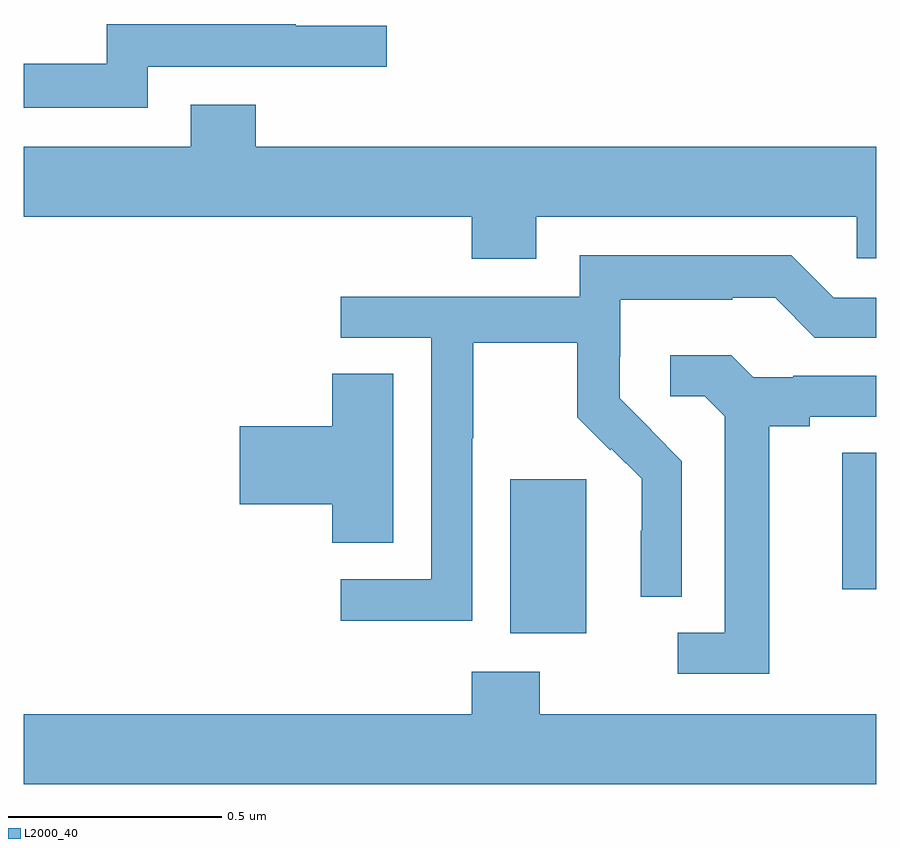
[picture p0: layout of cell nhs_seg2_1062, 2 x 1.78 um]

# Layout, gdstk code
import gdstk
lib = gdstk.Library(unit=1e-6, precision=1e-09)
def R(c, l, rs):  # rectangles x0, y0, x1, y1
    for r in rs: c.add(gdstk.rectangle(r[:2], r[2:], *l))
def P(c, l, *ps):  # polygons
    for p in ps: c.add(gdstk.Polygon(p, *l))
L2000_40 = (2000, 40)

nhs_seg2_1062 = lib.new_cell('nhs_seg2_1062')
R(nhs_seg2_1062, L2000_40, [(125.141,601.37,125.32,601.731), (125.921,601.473,126,601.793)])
P(nhs_seg2_1062, L2000_40, [(124.29,602.7),(124.852,602.7),(124.852,602.796),(124.638,602.796),(124.638,602.8),(124.194,602.8),(124.194,602.707),(124,602.707),(124,602.603),(124.29,602.603)],
  [(125.203,602.348),(125.955,602.348),(125.955,602.25),(126,602.25),(126,602.512),(124.544,602.512),(124.544,602.611),(124.391,602.611),(124.391,602.512),(124,602.512),(124,602.348),(125.051,602.348),(125.051,602.249),(125.203,602.249)],
  [(125.052,601.828),(125.055,601.828),(125.055,602.052),(125.299,602.052),(125.299,601.877),(125.376,601.8),(125.379,601.803),(125.45,601.733),(125.45,601.61),(125.448,601.61),(125.448,601.456),(125.544,601.456),(125.544,601.774),(125.471,601.847),(125.472,601.848),(125.398,601.922),(125.398,602.019),(125.4,602.019),(125.4,602.153),(125.663,602.153),(125.663,602.157),(125.763,602.157),(125.856,602.064),(126,602.064),(126,602.157),(125.901,602.157),(125.801,602.257),(125.304,602.257),(125.304,602.16),(124.743,602.16),(124.743,602.064),(124.956,602.064),(124.956,601.497),(124.743,601.497),(124.743,601.399),(125.052,601.399)],
  [(125.749,601.856),(125.845,601.856),(125.845,601.878),(126,601.878),(126,601.974),(125.806,601.974),(125.806,601.971),(125.712,601.971),(125.66,602.023),(125.517,602.023),(125.517,601.926),(125.598,601.926),(125.645,601.879),(125.645,601.371),(125.535,601.371),(125.535,601.275),(125.749,601.275)],
  [(124.867,601.979),(124.724,601.979),(124.724,601.856),(124.506,601.856),(124.506,601.673),(124.724,601.673),(124.724,601.582),(124.867,601.582)],
  [(126,601.18),(125.211,601.18),(125.211,601.279),(125.051,601.279),(125.051,601.18),(124,601.18),(124,601.016),(126,601.016)])

lib.write_gds('nhs_seg2_1062.gds')
